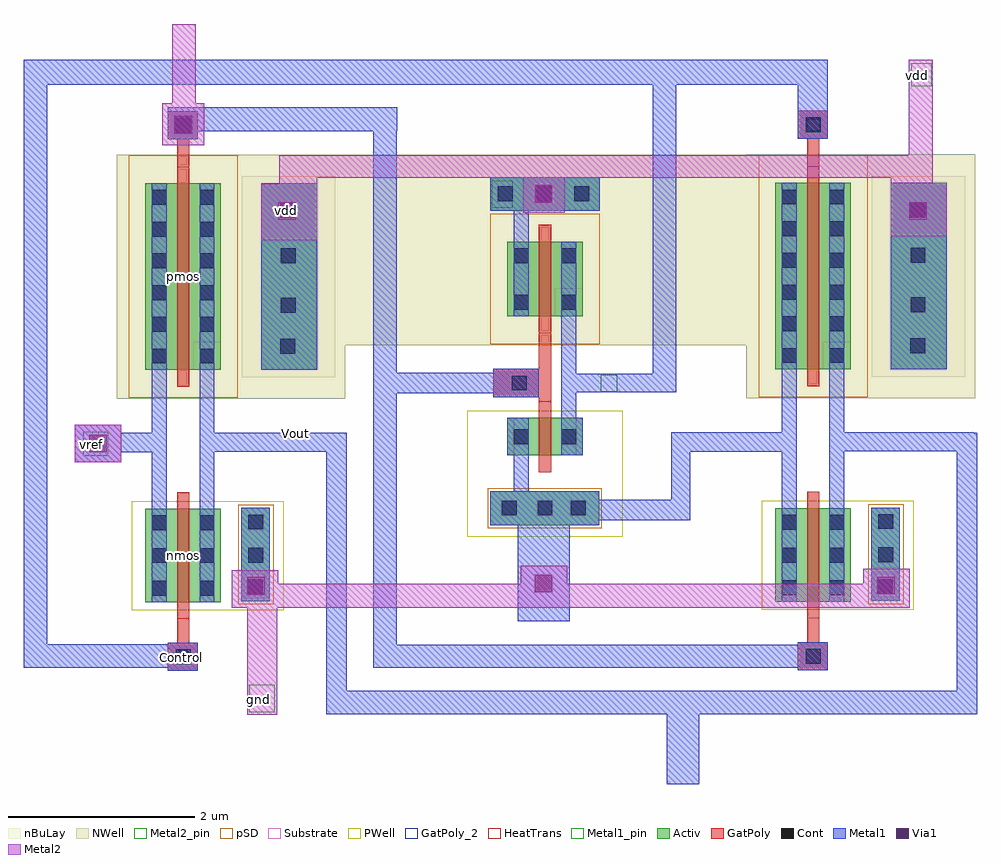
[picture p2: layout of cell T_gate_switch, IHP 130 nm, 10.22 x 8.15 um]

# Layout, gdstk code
import gdstk
lib = gdstk.Library(unit=1e-6, precision=1e-09)
def R(c, l, rs):  # rectangles x0, y0, x1, y1
    for r in rs: c.add(gdstk.rectangle(r[:2], r[2:], *l))
def A(c, l, x, y, w, h, nx, ny, dx, dy):  # array of equal rectangles
    R(c, l, [(x+i*dx, y+j*dy, x+i*dx+w, y+j*dy+h) for i in range(nx) for j in range(ny)])
Activ = (1, 0)
GatPoly = (5, 0)
GatPoly_2 = (5, 2)
Cont = (6, 0)
Metal1 = (8, 0)
Metal1_pin = (8, 2)
Metal2 = (10, 0)
Metal2_pin = (10, 2)
pSD = (14, 0)
Via1 = (19, 0)
NWell = (31, 0)
nBuLay = (32, 0)
Substrate = (40, 0)
PWell = (46, 0)
HeatTrans = (51, 0)

pmos = lib.new_cell('pmos')
R(pmos, Activ, [(0.01,1.755,0.82,2.555), (0.01,1.755,0.31,2.055), (0.52,1.755,0.82,2.055)])
R(pmos, GatPoly, [(0.35,1.575,0.48,2.735), (0.35,1.575,0.48,2.735)])
R(pmos, Cont, [(0.08,1.825,0.24,1.985), (0.59,1.825,0.75,1.985), (0.08,2.325,0.24,2.485), (0.59,2.325,0.75,2.485)])
R(pmos, Metal1, [(0.08,1.755,0.24,2.555), (0.08,1.755,0.24,2.555), (0.59,1.755,0.75,2.555), (0.59,1.755,0.75,2.555)])
R(pmos, pSD, [(-0.17,1.455,1,2.855)])
R(pmos, NWell, [(-0.3,1.445,1.13,2.865)])
R(pmos, Substrate, [(0.52,1.755,0.82,2.055)])
R(pmos, HeatTrans, [(0.35,1.575,0.48,2.735)])
pmos.add(gdstk.Label('pmos', (0.415,2.155), layer=63, texttype=0))
pmos.add(gdstk.Label('pmos', (0.415,2.155), layer=51, texttype=0))

nmos_1 = lib.new_cell('nmos$1')
R(nmos_1, Activ, [(0.01,1.755,0.82,2.155), (0.01,1.755,0.31,2.055), (0.52,1.755,0.82,2.055)])
R(nmos_1, GatPoly, [(0.35,1.575,0.48,2.335)])
R(nmos_1, GatPoly_2, [(0.35,1.575,0.48,2.335)])
R(nmos_1, Cont, [(0.08,1.875,0.24,2.035), (0.59,1.875,0.75,2.035)])
R(nmos_1, Metal1, [(0.08,1.755,0.24,2.155), (0.59,1.755,0.75,2.155)])
R(nmos_1, Metal1_pin, [(0.08,1.755,0.24,2.155), (0.59,1.755,0.75,2.155)])
R(nmos_1, HeatTrans, [(0.35,1.575,0.48,2.335)])
nmos_1.add(gdstk.Label('nmos', (0.415,1.955), layer=63, texttype=0))
nmos_1.add(gdstk.Label('nmos', (0.415,1.955), layer=51, texttype=0))

inverter = lib.new_cell('inverter')
R(inverter, Activ, [(-0.61,-0.17,0.555,0.195), (-0.61,3.205,0.56,3.56)])
R(inverter, GatPoly, [(-0.09,0.4,0.04,3.05), (-0.58,1.205,-0.005,1.51)])
R(inverter, Cont, [(-0.49,-0.065,-0.33,0.095), (-0.105,-0.065,0.055,0.095), (0.25,-0.065,0.41,0.095), (-0.38,1.275,-0.22,1.435), (-0.53,3.305,-0.37,3.465), (-0.115,3.305,0.045,3.465), (0.29,3.305,0.45,3.465)])
R(inverter, Metal1, [(-0.61,-0.17,0.555,0.195), (-0.36,-0.01,-0.2,0.755), (-0.43,0.58,-0.2,0.98), (0.15,0.58,0.31,2.87), (0.15,0.58,0.38,0.98), (-0.58,1.205,-0.09,1.51), (0.15,1.255,0.76,1.455), (-0.36,2.78,-0.2,3.56), (-0.61,3.205,0.56,3.56)])
R(inverter, Metal1_pin, [(0.575,1.26,0.75,1.445), (-0.595,3.235,-0.37,3.525)])
R(inverter, pSD, [(-0.64,-0.205,0.585,0.225)])
R(inverter, NWell, [(-0.86,1.76,0.815,3.805)])
R(inverter, PWell, [(-0.86,-0.295,0.81,1.055)])
inverter.add(gdstk.Reference(pmos, (-0.44,0.315)))
inverter.add(gdstk.Reference(nmos_1, (-0.44,-1.175)))
inverter.add(gdstk.Label('vo', (0.665,1.35), layer=8, texttype=25))
inverter.add(gdstk.Label('gnd', (-0.51,0.02), layer=8, texttype=25))
inverter.add(gdstk.Label('vdd', (-0.505,3.37), layer=8, texttype=25))

pmos_1 = lib.new_cell('pmos$1')
R(pmos_1, Activ, [(0,-0.12,0.81,1.88), (0,-0.12,0.3,0.18), (0.51,-0.12,0.81,0.18)])
R(pmos_1, GatPoly, [(0.34,-0.3,0.47,2.06), (0.34,-0.3,0.47,2.06)])
A(pmos_1, Cont, 0.07, -0.05, 0.16, 0.16, 1, 6, 0, 0.34)
A(pmos_1, Cont, 0.58, -0.05, 0.16, 0.16, 1, 6, 0, 0.34)
R(pmos_1, Metal1, [(0.07,-0.12,0.23,1.88), (0.07,-0.12,0.23,1.88), (0.58,-0.12,0.74,1.88), (0.58,-0.12,0.74,1.88)])
R(pmos_1, pSD, [(-0.18,-0.42,0.99,2.18)])
R(pmos_1, NWell, [(-0.31,-0.43,1.12,2.19)])
R(pmos_1, Substrate, [(0.51,-0.12,0.81,0.18)])
R(pmos_1, HeatTrans, [(0.34,-0.3,0.47,2.06)])
pmos_1.add(gdstk.Label('pmos', (0.405,0.88), layer=63, texttype=0))
pmos_1.add(gdstk.Label('pmos', (0.405,0.88), layer=51, texttype=0))

nmos_1_1 = lib.new_cell('nmos$1$1')
R(nmos_1_1, Activ, [(0,-0.12,0.81,0.88), (0,-0.12,0.3,0.18), (0.51,-0.12,0.81,0.18)])
R(nmos_1_1, GatPoly, [(0.34,-0.3,0.47,1.06)])
R(nmos_1_1, GatPoly_2, [(0.34,-0.3,0.47,1.06)])
A(nmos_1_1, Cont, 0.07, -0.05, 0.16, 0.16, 1, 3, 0, 0.35)
A(nmos_1_1, Cont, 0.58, -0.05, 0.16, 0.16, 1, 3, 0, 0.35)
R(nmos_1_1, Metal1, [(0.07,-0.12,0.23,0.88), (0.58,-0.12,0.74,0.88)])
R(nmos_1_1, Metal1_pin, [(0.07,-0.12,0.23,0.88), (0.58,-0.12,0.74,0.88)])
R(nmos_1_1, HeatTrans, [(0.34,-0.3,0.47,1.06)])
nmos_1_1.add(gdstk.Label('nmos', (0.405,0.38), layer=63, texttype=0))
nmos_1_1.add(gdstk.Label('nmos', (0.405,0.38), layer=51, texttype=0))

t_gate = lib.new_cell('T_gate')
R(t_gate, Activ, [(0.81,-2.425,1.115,-1.425), (1.02,0.055,1.62,2.055)])
R(t_gate, GatPoly, [(0.02,-3.17,0.34,-2.87), (0.12,-2.92,0.25,-2.435), (0.12,2.05,0.25,2.63), (0.02,2.53,0.34,2.83)])
R(t_gate, Cont, [(0.105,-3.1,0.265,-2.94), (0.88,-2.355,1.04,-2.195), (0.885,-2.01,1.045,-1.85), (0.885,-1.655,1.045,-1.495), (1.225,0.23,1.385,0.39), (1.23,0.67,1.39,0.83), (1.23,1.2,1.39,1.36), (1.23,1.69,1.39,1.85), (0.105,2.6,0.265,2.76)])
R(t_gate, Metal1, [(0.02,-3.17,0.34,-2.87), (0.81,-2.425,1.115,-1.425), (-0.15,-1.735,0.01,0.76), (0.36,-1.735,0.52,0.77), (-0.565,-0.825,0.01,-0.62), (0.36,-0.82,1.9,-0.62), (1.02,0.055,1.62,2.055), (0.02,2.53,0.34,2.83)])
R(t_gate, Metal1_pin, [(1.23,1.685,1.39,1.845), (0.12,2.615,0.255,2.745)])
R(t_gate, pSD, [(0.775,-2.46,1.155,-1.39)])
R(t_gate, NWell, [(-0.23,-0.255,1.925,2.365)])
R(t_gate, nBuLay, [(0.815,-0.025,1.815,2.13)])
R(t_gate, PWell, [(-0.365,-2.52,1.265,-1.355)])
t_gate.add(gdstk.Reference(pmos_1, (-0.22,0.175)))
t_gate.add(gdstk.Reference(nmos_1_1, (-0.22,-2.315)))
t_gate.add(gdstk.Label('Vout', (1.385,-0.625), layer=63, texttype=0))
t_gate.add(gdstk.Label('vdd', (1.29,1.76), layer=8, texttype=25))
t_gate.add(gdstk.Label('gnd', (0.955,-1.58), layer=8, texttype=25))
t_gate.add(gdstk.Label('!Control', (0.17,2.685), layer=8, texttype=25))

t_gate_switch = lib.new_cell('T_gate_switch')
R(t_gate_switch, Activ, [(-4.605,2.89,-4.305,3.19), (-4.605,2.89,-3.795,3.89), (-4.095,2.89,-3.795,3.19), (-3.575,2.9,-3.27,3.9), (-4.605,5.38,-3.795,7.38), (-4.605,5.38,-4.305,5.68), (-4.095,5.38,-3.795,5.68), (-3.365,5.38,-2.765,7.38)])
R(t_gate_switch, GatPoly, [(-4.365,2.155,-4.045,2.455), (-4.265,2.405,-4.135,2.89), (-4.265,2.71,-4.135,4.07), (-4.265,5.2,-4.135,7.56), (-4.265,5.2,-4.135,7.56), (-4.265,7.375,-4.135,7.955), (-4.365,7.855,-4.045,8.155)])
R(t_gate_switch, GatPoly_2, [(-4.265,2.71,-4.135,4.07)])
A(t_gate_switch, Cont, -4.535, 2.96, 0.16, 0.16, 1, 3, 0, 0.35)
A(t_gate_switch, Cont, -4.025, 2.96, 0.16, 0.16, 1, 3, 0, 0.35)
A(t_gate_switch, Cont, -4.535, 5.45, 0.16, 0.16, 1, 6, 0, 0.34)
A(t_gate_switch, Cont, -4.025, 5.45, 0.16, 0.16, 1, 6, 0, 0.34)
R(t_gate_switch, Cont, [(-4.28,2.225,-4.12,2.385), (-3.505,2.97,-3.345,3.13), (-3.5,3.315,-3.34,3.475), (-3.5,3.67,-3.34,3.83), (-3.16,5.555,-3,5.715), (-3.155,5.995,-2.995,6.155), (-3.155,6.525,-2.995,6.685), (-3.155,7.015,-2.995,7.175), (-4.28,7.925,-4.12,8.085)])
R(t_gate_switch, Metal1, [(0.985,0.94,1.335,1.935), (-2.665,1.69,4.315,1.94), (-2.665,1.69,-2.445,4.705), (4.095,1.69,4.315,4.705), (-4.365,2.155,-4.045,2.455), (-5.91,2.185,-5.66,8.7), (-5.91,2.185,-4.045,2.44), (-2.16,2.185,-1.91,8.145), (-2.16,2.185,2.71,2.435), (-0.615,2.685,-0.055,3.86), (-4.535,2.89,-4.375,3.89), (-4.025,2.89,-3.865,3.89), (-3.575,2.9,-3.27,3.9), (-4.535,3.59,-4.375,6.085), (-4.025,3.59,-3.865,6.095), (0.01,3.77,1.235,3.99), (1.035,3.77,1.235,4.71), (-5.365,4.39,-4.865,4.79), (-4.95,4.5,-4.375,4.705), (-4.025,4.505,-2.485,4.705), (1.035,4.505,1.985,4.71), (-2.155,5.13,-0.56,5.35), (0.28,5.14,1.085,5.34), (0.835,5.14,1.085,8.705), (-4.535,5.38,-4.375,7.38), (-4.535,5.38,-4.375,7.38), (-4.025,5.38,-3.865,7.38), (-4.025,5.38,-3.865,7.38), (-3.365,5.38,-2.765,7.38), (-4.365,7.855,-4.045,8.195), (-4.365,7.855,-4.045,8.155), (2.39,7.86,2.71,8.705), (-4.36,7.94,-1.905,8.195), (-5.91,8.44,2.7,8.705)])
R(t_gate_switch, Metal1_pin, [(-4.26,2.25,-4.145,2.365), (-4.535,2.89,-4.375,3.89), (-4.025,2.89,-3.865,3.89), (-3.155,7.01,-2.995,7.17)])
R(t_gate_switch, Metal2, [(-3.515,1.685,-3.19,3.005), (-3.68,2.83,-3.18,3.23), (-3.42,2.83,3.59,3.085), (3.09,2.85,3.59,3.25), (-0.58,2.88,-0.08,3.28), (-5.365,4.39,-4.865,4.79), (-3.365,6.77,-2.765,7.375), (3.39,6.815,3.99,7.385), (3.39,7.05,3.84,7.68), (-0.555,7.065,-0.11,7.49), (-3.17,7.1,-2.765,7.68), (3.58,7.315,3.84,8.705), (-3.17,7.44,3.84,7.68), (-4.425,7.79,-3.975,8.24), (-4.32,7.99,-4.065,9.09)])
R(t_gate_switch, Metal2_pin, [(-3.49,1.71,-3.22,2.005), (-5.27,4.46,-5.005,4.72), (3.605,8.425,3.825,8.67)])
R(t_gate_switch, pSD, [(-3.61,2.865,-3.23,3.935), (-4.785,5.08,-3.615,7.68)])
R(t_gate_switch, Via1, [(-3.515,2.97,-3.325,3.16), (3.24,2.975,3.43,3.165), (-0.43,2.995,-0.24,3.185), (-5.21,4.495,-5.02,4.685), (-3.18,6.99,-2.99,7.18), (3.585,6.99,3.775,7.18), (-0.43,7.175,-0.24,7.365), (-4.295,7.915,-4.105,8.105)])
R(t_gate_switch, NWell, [(-4.915,5.07,-3.485,7.69), (-4.615,5.07,-2.46,7.69), (-4.915,5.645,3.27,7.69)])
R(t_gate_switch, nBuLay, [(-3.57,5.3,-2.57,7.455)])
R(t_gate_switch, Substrate, [(-4.095,5.38,-3.795,5.68)])
R(t_gate_switch, PWell, [(-4.75,2.805,-3.12,3.97)])
R(t_gate_switch, HeatTrans, [(-4.265,2.71,-4.135,4.07), (-4.265,5.2,-4.135,7.56)])
t_gate_switch.add(gdstk.Reference(inverter, (-0.295,3.885)))
t_gate_switch.add(gdstk.Reference(t_gate, (2.37,5.33)))
t_gate_switch.add(gdstk.Label('Vout', (-3,4.7), layer=63, texttype=0))
t_gate_switch.add(gdstk.Label('nmos', (-4.2,3.39), layer=63, texttype=0))
t_gate_switch.add(gdstk.Label('pmos', (-4.2,6.38), layer=63, texttype=0))
t_gate_switch.add(gdstk.Label('nmos', (-4.2,3.39), layer=51, texttype=0))
t_gate_switch.add(gdstk.Label('pmos', (-4.2,6.38), layer=51, texttype=0))
t_gate_switch.add(gdstk.Label('vdd', (-3.095,7.085), layer=8, texttype=25))
t_gate_switch.add(gdstk.Label('Control', (-4.215,2.3), layer=8, texttype=25))
t_gate_switch.add(gdstk.Label('vref', (-5.18,4.585), layer=10, texttype=25))
t_gate_switch.add(gdstk.Label('vdd', (3.67,8.535), layer=10, texttype=25))
t_gate_switch.add(gdstk.Label('gnd', (-3.39,1.845), layer=10, texttype=25))

lib.write_gds('T_gate_switch.gds')
